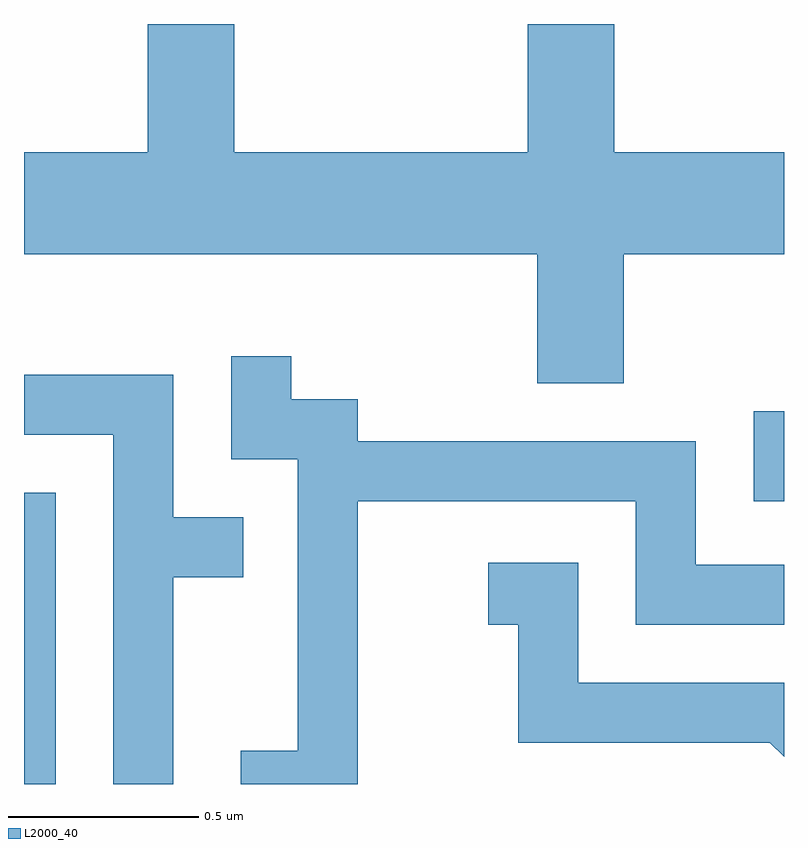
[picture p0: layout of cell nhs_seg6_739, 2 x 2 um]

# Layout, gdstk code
import gdstk
lib = gdstk.Library(unit=1e-6, precision=1e-09)
def R(c, l, rs):  # rectangles x0, y0, x1, y1
    for r in rs: c.add(gdstk.rectangle(r[:2], r[2:], *l))
def P(c, l, *ps):  # polygons
    for p in ps: c.add(gdstk.Polygon(p, *l))
L2000_40 = (2000, 40)

nhs_seg6_739 = lib.new_cell('nhs_seg6_739')
R(nhs_seg6_739, L2000_40, [(190.611,1584.162,190.694,1584.929), (192.531,1584.906,192.611,1585.143)])
P(nhs_seg6_739, L2000_40, [(192.189,1585.556),(192.611,1585.556),(192.611,1585.824),(192.164,1585.824),(192.164,1586.162),(191.936,1586.162),(191.936,1585.824),(191.164,1585.824),(191.164,1586.162),(190.936,1586.162),(190.936,1585.824),(190.611,1585.824),(190.611,1585.556),(191.961,1585.556),(191.961,1585.216),(192.189,1585.216)],
  [(191.489,1584.906),(192.221,1584.906),(192.221,1584.581),(192.611,1584.581),(192.611,1584.739),(192.379,1584.739),(192.379,1585.064),(191.489,1585.064),(191.489,1585.174),(191.314,1585.174),(191.314,1585.288),(191.156,1585.288),(191.156,1585.016),(191.331,1585.016),(191.331,1584.249),(191.181,1584.249),(191.181,1584.162),(191.489,1584.162)],
  [(191.004,1584.706),(191.188,1584.706),(191.188,1584.864),(191.004,1584.864),(191.004,1585.239),(190.611,1585.239),(190.611,1585.081),(190.846,1585.081),(190.846,1584.162),(191.004,1584.162)],
  [(192.611,1584.429),(192.069,1584.429),(192.069,1584.744),(191.833,1584.744),(191.833,1584.581),(191.911,1584.581),(191.911,1584.271),(192.574,1584.271),(192.611,1584.234)])

lib.write_gds('nhs_seg6_739.gds')
